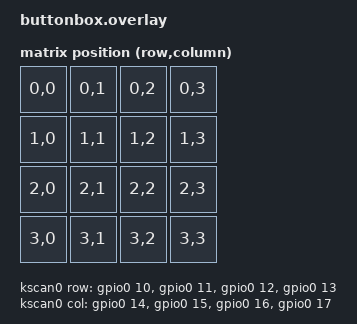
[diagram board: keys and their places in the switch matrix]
#include <behaviors.dtsi>
#include <dt-bindings/zmk/matrix_transform.h>

/ {
    kscan0: kscan_0 {
        compatible = "zmk,kscan-gpio-matrix";
        diode-direction = "col2row";

        row-gpios = <&gpio0 10 (GPIO_PULL_UP | GPIO_ACTIVE_LOW)>,
                    <&gpio0 11 (GPIO_PULL_UP | GPIO_ACTIVE_LOW)>,
                    <&gpio0 12 (GPIO_PULL_UP | GPIO_ACTIVE_LOW)>,
                    <&gpio0 13 (GPIO_PULL_UP | GPIO_ACTIVE_LOW)>;

        col-gpios = <&gpio0 14 GPIO_ACTIVE_LOW>,
                    <&gpio0 15 GPIO_ACTIVE_LOW>,
                    <&gpio0 16 GPIO_ACTIVE_LOW>,
                    <&gpio0 17 GPIO_ACTIVE_LOW>;
    };

    default_transform: keymap_transform0 {
        compatible = "zmk,matrix-transform";
        columns = <4>;
        rows = <4>;

        map = <
            RC(0,0) RC(0,1) RC(0,2) RC(0,3)
            RC(1,0) RC(1,1) RC(1,2) RC(1,3)
            RC(2,0) RC(2,1) RC(2,2) RC(2,3)
            RC(3,0) RC(3,1) RC(3,2) RC(3,3)
        >;
    };
};

&default_transform {
};

&kscan0 {
};
